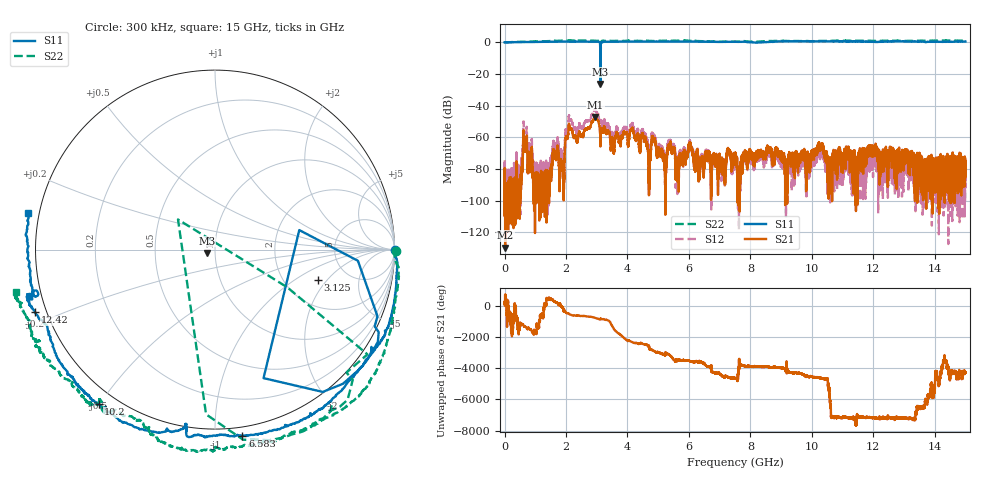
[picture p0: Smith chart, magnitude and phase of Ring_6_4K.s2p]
!Agilent Technologies,N5230C,SG49000117,A.08.50.07
!Agilent N5230C: A.08.50.07
!Date: Tuesday, May 07, 2024 23:51:46
!Correction: S11(Full 2 Port(1,2))
!S21(Full 2 Port(1,2))
!S12(Full 2 Port(1,2))
!S22(Full 2 Port(1,2))
!S2P File: Measurements: S11, S21, S12, S22:
# Hz S  MA  R 50
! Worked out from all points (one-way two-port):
!   20001 points, 300 kHz to 15 GHz, reference 50 ohm
!   highest |S21| = -47.20 dB at 2.951 GHz (marker M1); lowest = -129.7 dB at 18.3 MHz (marker M2)
!   lowest |S11| = -26.3 dB at 3.118 GHz (marker M3), VSWR 1.10, Z = 45.7 - j1.76 ohm
!   |S11| at or under -10 dB: 3.117009 GHz to 3.119261 GHz (2.253 MHz wide, 0.0722 % of centre)
!   |S22| runs from -15.7 to 1.2 dB; largest |S21 - S12| = 0.0039
!   S11 on the Smith chart (normalised r, x): 300 kHz: open; 3.125 GHz: 3.04, -1.62; 6.583 GHz: -0.05, -1.16; 10.2 GHz: -0.05, -0.50; 12.42 GHz: -0.03, -0.17; 15 GHz: -0.03, +0.10
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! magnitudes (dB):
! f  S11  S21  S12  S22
! 300 kHz  0.0  -90.6  -89.9  0.1
! 18.3 MHz  0.0  -129.7  -96.7  0.0
! 482.5 MHz  0.2  -91.9  -85.6  0.3
! 665.5 MHz  0.2  -69.2  -62.9  0.4
! 1.014 GHz  0.3  -91.1  -80.6  0.5
! 1.437 GHz  0.4  -82.5  -78.2  0.8
! 1.661 GHz  0.4  -73.7  -67.2  0.9
! 1.869 GHz  0.5  -76.9  -73.2  1.0
! 2.119 GHz  0.4  -52.9  -47.8  1.1
! 2.501 GHz  0.5  -59.2  -54.2  1.2
! 2.951 GHz  0.4  -47.2  -43.1  1.0
! 3.118 GHz  -26.3  -65.8  -65.9  -3.3
! 3.125 GHz  -4.5  -57.3  -54.2  -5.2
! 5 GHz  0.6  -67.9  -65.9  1.0
! 6.583 GHz  0.4  -71.0  -69.6  0.6
! 7.5 GHz  0.4  -73.3  -76.0  0.5
! 10 GHz  0.6  -69.5  -73.2  0.8
! 10.2 GHz  0.6  -66.7  -70.2  0.9
! 10.58 GHz  0.6  -76.2  -77.0  1.0
! 12.42 GHz  0.5  -68.7  -74.4  1.0
! 12.5 GHz  0.6  -73.4  -77.7  1.0
! 15 GHz  0.6  -75.9  -80.5  1.1
